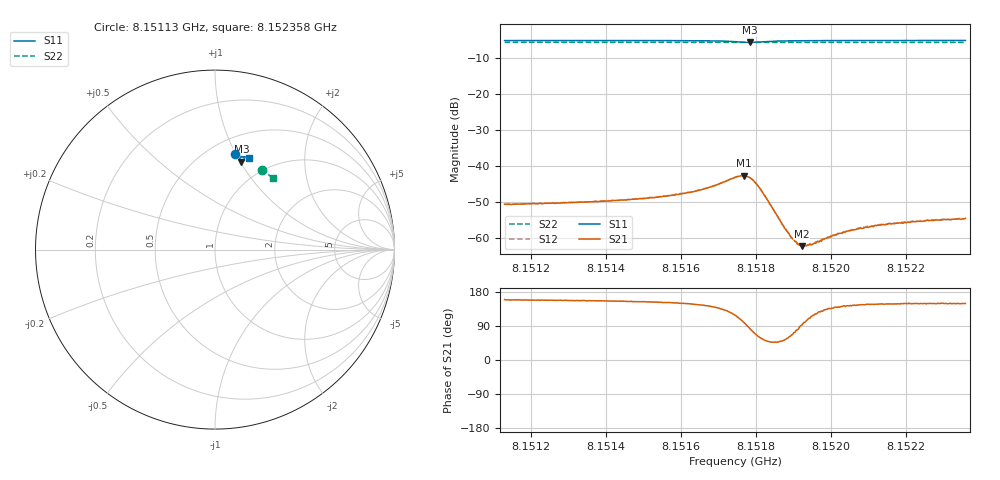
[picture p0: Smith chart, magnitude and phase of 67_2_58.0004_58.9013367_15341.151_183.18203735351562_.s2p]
#  HZ  S  RI  R  50.00
! Rohde & Schwarz Vector Network Analyzer
! Rohde-Schwarz,ZNB20-2Port,1311601062101988,3.16
! Created: UTC 3/21/2024, 12:53:14 AM
! freq[Hz]  re:S11  im:S11  re:S21  im:S21  re:S12  im:S12  re:S22  im:S22
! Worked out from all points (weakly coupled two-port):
!   401 points, 8.15113 GHz to 8.152358 GHz, reference 50 ohm
!   highest |S21| = -42.65 dB at 8.151769 GHz (marker M1); lowest = -62.0 dB at 8.151922 GHz (marker M2)
!   lowest |S11| = -5.8 dB at 8.151784 GHz (marker M3), VSWR 3.10, Z = 38.1 + j50.6 ohm
!   |S11| at or under -10 dB: nowhere
!   |S22| runs from -5.8 to -5.8 dB; largest |S21 - S12| = 0.00014
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8.15113e9  0.1137 0.5311  -0.00278 0.00104  -0.00279 0.0011  0.2599 0.4436
8.1513357e9  0.1287 0.5278  -0.00291 0.00123  -0.00291 0.00132  0.2711 0.4364
8.1515414e9  0.1454 0.5231  -0.00332 0.00177  -0.00333 0.00178  0.2823 0.429
8.1516059e9  0.1514 0.5207  -0.0036 0.0021  -0.0036 0.00219  0.2857 0.4266
8.1516581e9  0.1571 0.517  -0.0039 0.00276  -0.00389 0.00284  0.2885 0.4245
8.151744e9  0.1636 0.4988  -0.00331 0.00615  -0.00323 0.00622  0.2927 0.4206
8.1517686e9  0.1553 0.4907  -0.00107 0.00729  -0.000947 0.00732  0.2935 0.4196
8.1517839e9  0.1467 0.4906  0.000911 0.00684  0.000963 0.00687  0.294 0.4192
8.1517962e9  0.1409 0.4945  0.00203 0.0057  0.00212 0.00574  0.2945 0.4191
8.1518116e9  0.138 0.5016  0.00252 0.0041  0.00261 0.00411  0.2952 0.4187
8.151873e9  0.1467 0.5162  0.00093 0.00117  0.000934 0.00118  0.2989 0.417
8.1518945e9  0.1504 0.5173  0.000421 0.000939  0.000435 0.00091  0.3001 0.4161
8.1519098e9  0.1526 0.5178  0.000156 0.000844  0.000176 0.000805  0.3009 0.4155
8.1519221e9  0.1543 0.518  -3.25e-05 0.000789  -8.8e-06 0.000827  0.3016 0.4151
8.1519313e9  0.1555 0.5182  -0.000145 0.000787  -0.000177 0.000766  0.302 0.4146
8.1519497e9  0.1577 0.5181  -0.000368 0.000737  -0.000324 0.000752  0.3031 0.4139
8.1519958e9  0.1627 0.5177  -0.000756 0.00073  -0.000711 0.000757  0.3056 0.4123
8.152051e9  0.1677 0.5168  -0.00104 0.000747  -0.00103 0.000786  0.3083 0.4099
8.1520909e9  0.1711 0.516  -0.00118 0.000798  -0.00117 0.000822  0.3103 0.4083
8.1521554e9  0.1762 0.5147  -0.00136 0.000859  -0.00136 0.000881  0.3136 0.4057
8.1522659e9  0.1844 0.5123  -0.00152 0.000897  -0.00153 0.00093  0.3192 0.4012
8.152358e9  0.191 0.5102  -0.00162 0.000976  -0.00161 0.000961  0.3237 0.3975
